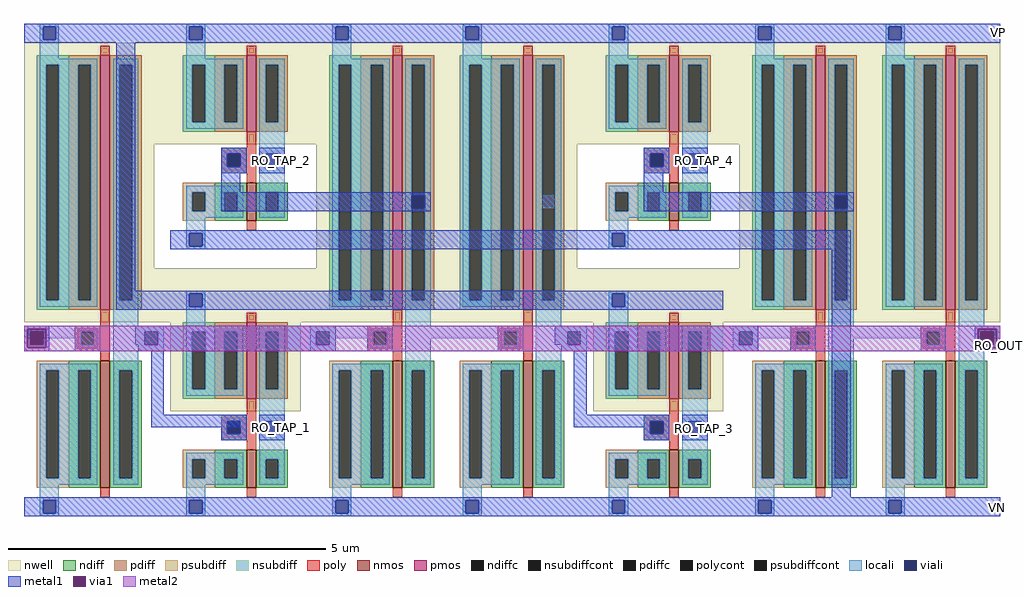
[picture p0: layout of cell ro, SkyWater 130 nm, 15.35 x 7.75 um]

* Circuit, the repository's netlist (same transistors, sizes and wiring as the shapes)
* NGSPICE file created from ro.ext - technology: sky130A

.subckt inv_tap VP VN IN OUT
X0 OUT IN VP VP sky130_fd_pr__pfet_01v8 ad=0.6 pd=3.4 as=0.6 ps=3.4 w=1.2 l=0.15
X1 OUT IN VN VN sky130_fd_pr__nfet_01v8 ad=0.3 pd=2.2 as=0.3 ps=2.2 w=0.6 l=0.15
.ends

.subckt inv VP VN IN OUT
X0 OUT IN VN VN sky130_fd_pr__nfet_01v8 ad=1 pd=5 as=1 ps=5 w=2 l=0.15
X1 OUT IN VP VP sky130_fd_pr__pfet_01v8 ad=2 pd=9 as=2 ps=9 w=4 l=0.15
.ends

.subckt ro VP VN RO_OUT
Xinv_tap_0 VP VN inv_1/IN inv_tap_0/OUT inv_tap
Xinv_tap_1 VP VN inv_2/IN inv_tap_1/OUT inv_tap
Xinv_tap_2 VP VN inv_3/IN inv_tap_2/OUT inv_tap
Xinv_tap_3 VP VN inv_4/IN inv_tap_3/OUT inv_tap
Xinv_0 VP VN RO_OUT inv_1/IN inv
Xinv_1 VP VN inv_1/IN inv_2/IN inv
Xinv_2 VP VN inv_2/IN inv_3/IN inv
Xinv_3 VP VN inv_3/IN inv_4/IN inv
Xinv_4 VP VN inv_4/IN RO_OUT inv
.ends

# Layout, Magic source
magic
tech sky130A
<< nwell >>
rect 205 585 230 745
rect 435 585 460 745
rect 870 585 895 745
rect 1100 585 1125 745
rect 205 325 460 390
rect 205 305 230 325
rect 435 305 460 325
rect 870 325 1125 390
rect 870 305 895 325
rect 1100 305 1125 325
<< locali >>
rect 815 485 835 505
rect 180 290 220 300
rect 180 270 190 290
rect 210 270 220 290
rect 180 260 220 270
rect 450 290 490 300
rect 450 270 460 290
rect 480 270 490 290
rect 450 260 490 270
rect 845 290 885 300
rect 845 270 855 290
rect 875 270 885 290
rect 845 260 885 270
rect 1115 290 1155 300
rect 1115 270 1125 290
rect 1145 270 1155 290
rect 1115 260 1155 270
<< viali >>
rect 610 485 630 505
rect 1275 485 1295 505
rect 10 270 30 290
rect 190 270 210 290
rect 460 270 480 290
rect 855 270 875 290
rect 1125 270 1145 290
rect 1505 270 1525 290
<< metal1 >>
rect 205 745 230 775
rect 435 745 460 775
rect 870 745 895 775
rect 1100 745 1125 775
rect 1515 745 1535 775
rect 145 355 175 745
rect 370 540 410 580
rect 1035 540 1075 580
rect 310 510 340 540
rect 975 510 1005 540
rect 310 505 640 510
rect 310 485 610 505
rect 630 485 640 505
rect 310 480 640 485
rect 975 505 1305 510
rect 975 485 1275 505
rect 1295 485 1305 505
rect 975 480 1305 485
rect 435 420 895 450
rect 1100 420 1300 450
rect 145 325 230 355
rect 435 325 895 355
rect 0 295 40 300
rect 0 265 5 295
rect 35 265 40 295
rect 175 290 490 300
rect 175 270 190 290
rect 210 270 460 290
rect 480 270 490 290
rect 835 290 1155 300
rect 835 270 855 290
rect 875 270 1125 290
rect 1145 270 1155 290
rect 0 260 40 265
rect 180 260 490 270
rect 845 260 1155 270
rect 200 160 220 260
rect 865 160 885 260
rect 200 140 340 160
rect 370 120 410 160
rect 865 140 975 160
rect 1035 120 1075 160
rect 1270 30 1300 420
rect 1495 295 1535 300
rect 1495 265 1500 295
rect 1530 265 1535 295
rect 1495 260 1535 265
rect 205 0 230 30
rect 435 0 460 30
rect 870 0 895 30
rect 1100 0 1125 30
rect 1515 0 1535 30
<< via1 >>
rect 5 290 35 295
rect 5 270 10 290
rect 10 270 30 290
rect 30 270 35 290
rect 5 265 35 270
rect 1500 290 1530 295
rect 1500 270 1505 290
rect 1505 270 1525 290
rect 1525 270 1530 290
rect 1500 265 1530 270
<< metal2 >>
rect 0 295 1535 300
rect 0 265 5 295
rect 35 265 1500 295
rect 1530 265 1535 295
rect 0 260 1535 265
use inv  inv_0
transform 1 0 70 0 1 25
box -70 -25 135 750
use inv  inv_1
transform 1 0 530 0 1 25
box -70 -25 135 750
use inv  inv_2
transform 1 0 735 0 1 25
box -70 -25 135 750
use inv  inv_3
transform 1 0 1195 0 1 25
box -70 -25 135 750
use inv  inv_4
transform 1 0 1400 0 1 25
box -70 -25 135 750
use inv_tap  inv_tap_0
transform 1 0 -40 0 1 -395
box 270 395 475 750
use inv_tap  inv_tap_1
transform 1 0 -40 0 1 25
box 270 395 475 750
use inv_tap  inv_tap_2
transform 1 0 625 0 1 -395
box 270 395 475 750
use inv_tap  inv_tap_3
transform 1 0 625 0 1 25
box 270 395 475 750
<< labels >>
rlabel metal1 1532 761 1532 762 1 VP
port 1 n
rlabel metal1 1531 14 1531 15 1 VN
port 2 n
rlabel metal2 1532 268 1532 269 1 RO_OUT
port 3 n
rlabel metal1 405 140 405 140 1 RO_TAP_1
port 4 n
rlabel metal1 405 560 405 560 1 RO_TAP_2
port 5 n
rlabel metal1 1070 139 1070 139 1 RO_TAP_3
port 6 n
rlabel metal1 1071 559 1071 559 1 RO_TAP_4
port 7 n
<< end >>

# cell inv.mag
magic
tech sky130A
<< nwell >>
rect -70 280 135 720
<< nmos >>
rect 50 20 65 220
<< pmos >>
rect 50 300 65 700
<< ndiff >>
rect 0 205 50 220
rect 0 35 15 205
rect 35 35 50 205
rect 0 20 50 35
rect 65 205 115 220
rect 65 35 80 205
rect 100 35 115 205
rect 65 20 115 35
<< pdiff >>
rect 0 685 50 700
rect 0 315 15 685
rect 35 315 50 685
rect 0 300 50 315
rect 65 685 115 700
rect 65 315 80 685
rect 100 315 115 685
rect 65 300 115 315
<< ndiffc >>
rect 15 35 35 205
rect 80 35 100 205
<< pdiffc >>
rect 15 315 35 685
rect 80 315 100 685
<< psubdiff >>
rect -50 205 0 220
rect -50 35 -35 205
rect -15 35 0 205
rect -50 20 0 35
<< nsubdiff >>
rect -50 685 0 700
rect -50 315 -35 685
rect -15 315 0 685
rect -50 300 0 315
<< psubdiffcont >>
rect -35 35 -15 205
<< nsubdiffcont >>
rect -35 315 -15 685
<< poly >>
rect 50 700 65 715
rect 50 275 65 300
rect 10 265 65 275
rect 10 245 20 265
rect 40 245 65 265
rect 10 235 65 245
rect 50 220 65 235
rect 50 5 65 20
<< polycont >>
rect 20 245 40 265
<< locali >>
rect -45 745 -15 750
rect -45 725 -40 745
rect -20 725 -15 745
rect -45 695 -15 725
rect -45 685 45 695
rect -45 315 -35 685
rect -15 315 15 685
rect 35 315 45 685
rect -45 305 45 315
rect 70 685 110 695
rect 70 315 80 685
rect 100 315 110 685
rect 70 275 110 315
rect -70 265 50 275
rect -70 255 20 265
rect 10 245 20 255
rect 40 245 50 265
rect 10 235 50 245
rect 70 255 135 275
rect -45 205 45 215
rect -45 35 -35 205
rect -15 35 15 205
rect 35 35 45 205
rect -45 25 45 35
rect 70 205 110 255
rect 70 35 80 205
rect 100 35 110 205
rect 70 25 110 35
rect -45 0 -15 25
rect -45 -20 -40 0
rect -20 -20 -15 0
rect -45 -25 -15 -20
<< viali >>
rect -40 725 -20 745
rect -40 -20 -20 0
<< metal1 >>
rect -70 745 135 750
rect -70 725 -40 745
rect -20 725 135 745
rect -70 720 135 725
rect -70 0 135 5
rect -70 -20 -40 0
rect -20 -20 135 0
rect -70 -25 135 -20
<< labels >>
rlabel metal1 32 748 32 748 5 VP
port 1 s
rlabel metal1 34 -23 34 -23 1 VN
port 2 n
rlabel locali -67 265 -67 265 1 IN
port 3 n
rlabel locali 133 266 133 266 7 OUT
port 4 w
<< end >>

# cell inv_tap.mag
magic
tech sky130A
<< nwell >>
rect 270 560 475 720
<< nmos >>
rect 390 440 405 500
<< pmos >>
rect 390 580 405 700
<< ndiff >>
rect 340 485 390 500
rect 340 455 355 485
rect 375 455 390 485
rect 340 440 390 455
rect 405 485 455 500
rect 405 455 420 485
rect 440 455 455 485
rect 405 440 455 455
<< pdiff >>
rect 340 685 390 700
rect 340 595 355 685
rect 375 595 390 685
rect 340 580 390 595
rect 405 685 455 700
rect 405 595 420 685
rect 440 595 455 685
rect 405 580 455 595
<< ndiffc >>
rect 355 455 375 485
rect 420 455 440 485
<< pdiffc >>
rect 355 595 375 685
rect 420 595 440 685
<< psubdiff >>
rect 290 485 340 500
rect 290 455 305 485
rect 325 455 340 485
rect 290 440 340 455
<< nsubdiff >>
rect 290 685 340 700
rect 290 595 305 685
rect 325 595 340 685
rect 290 580 340 595
<< psubdiffcont >>
rect 305 455 325 485
<< nsubdiffcont >>
rect 305 595 325 685
<< poly >>
rect 390 700 405 715
rect 390 555 405 580
rect 350 545 405 555
rect 350 525 360 545
rect 380 525 405 545
rect 350 515 405 525
rect 390 500 405 515
rect 390 425 405 440
<< polycont >>
rect 360 525 380 545
<< locali >>
rect 295 745 325 750
rect 295 725 300 745
rect 320 725 325 745
rect 295 695 325 725
rect 295 685 385 695
rect 295 595 305 685
rect 325 595 355 685
rect 375 595 385 685
rect 295 585 385 595
rect 410 685 450 695
rect 410 595 420 685
rect 440 595 450 685
rect 350 545 390 555
rect 350 525 360 545
rect 380 525 390 545
rect 350 515 390 525
rect 410 545 450 595
rect 410 525 420 545
rect 440 525 450 545
rect 295 485 385 495
rect 295 455 305 485
rect 325 455 355 485
rect 375 455 385 485
rect 295 445 385 455
rect 410 485 450 525
rect 410 455 420 485
rect 440 455 450 485
rect 410 445 450 455
rect 295 420 325 445
rect 295 400 300 420
rect 320 400 325 420
rect 295 395 325 400
<< viali >>
rect 300 725 320 745
rect 360 525 380 545
rect 420 525 440 545
rect 300 400 320 420
<< metal1 >>
rect 270 745 475 750
rect 270 725 300 745
rect 320 725 475 745
rect 270 720 475 725
rect 350 545 390 555
rect 350 525 360 545
rect 380 525 390 545
rect 350 515 390 525
rect 410 545 450 555
rect 410 525 420 545
rect 440 525 450 545
rect 410 515 450 525
rect 270 420 475 425
rect 270 400 300 420
rect 320 400 475 420
rect 270 395 475 400
<< labels >>
rlabel metal1 272 733 272 733 3 VP
port 5 e
rlabel metal1 272 409 273 409 3 VN
port 8 e
rlabel metal1 353 552 353 552 1 IN
port 9 n
rlabel metal1 448 552 448 552 1 OUT
port 10 n
<< end >>
